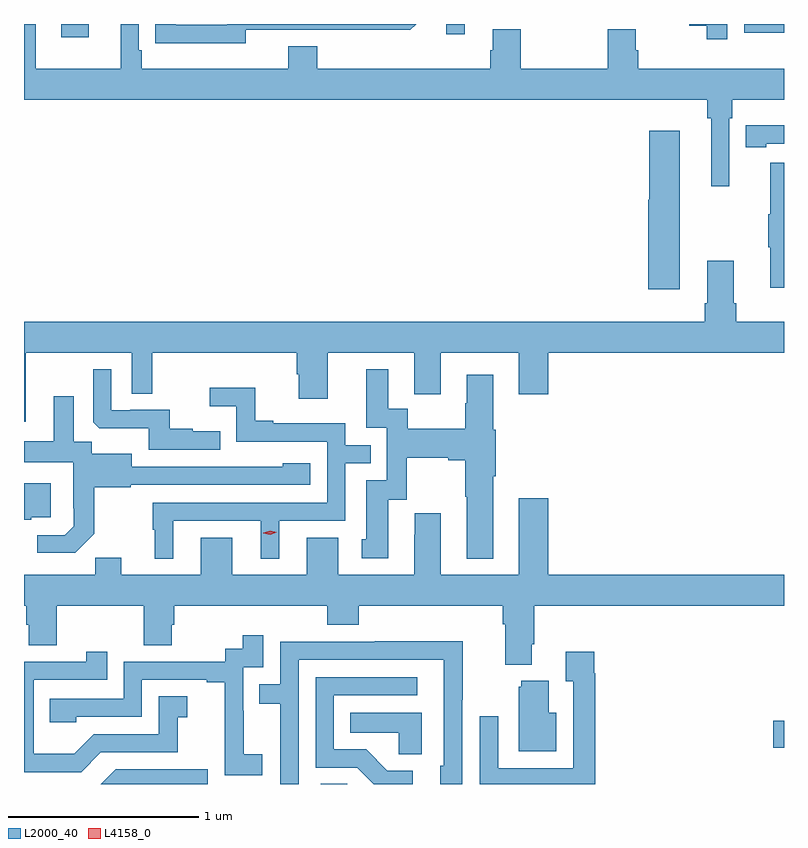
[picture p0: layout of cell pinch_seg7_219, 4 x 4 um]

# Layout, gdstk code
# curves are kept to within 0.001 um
import gdstk
lib = gdstk.Library(unit=1e-6, precision=1e-09)
def R(c, l, rs):  # rectangles x0, y0, x1, y1
    for r in rs: c.add(gdstk.rectangle(r[:2], r[2:], *l))
def P(c, l, *ps):  # polygons
    for p in ps: c.add(gdstk.Polygon(p, *l))
L2000_40 = (2000, 40)
L4158_0 = (4158, 0)

pinch_seg7_219 = lib.new_cell('pinch_seg7_219')
R(pinch_seg7_219, L2000_40, [(856.259,1032.979,856.398,1032.98), (858.642,1033.171,858.698,1033.313), (854.894,1036.908,855.04,1036.979), (856.92,1036.926,857.017,1036.979), (858.489,1036.932,858.698,1036.979)])
P(pinch_seg7_219, L2000_40, [(858.399,1036.979),(858.198,1036.979),(858.198,1036.969),(858.291,1036.969),(858.291,1036.899),(858.399,1036.899)],
  [(855.864,1036.95),(856.732,1036.949),(856.762,1036.979),(855.768,1036.979),(855.768,1036.974),(855.496,1036.974),(855.496,1036.979),(855.388,1036.979),(855.388,1036.878),(855.864,1036.877)],
  [(858.411,1036.484),(858.425,1036.484),(858.425,1036.58),(858.698,1036.58),(858.698,1036.744),(857.93,1036.744),(857.93,1036.842),(857.917,1036.842),(857.917,1036.952),(857.77,1036.952),(857.77,1036.744),(857.313,1036.744),(857.313,1036.952),(857.165,1036.952),(857.165,1036.842),(857.153,1036.842),(857.153,1036.744),(856.241,1036.744),(856.241,1036.861),(856.088,1036.861),(856.088,1036.744),(855.317,1036.744),(855.317,1036.84),(855.303,1036.84),(855.303,1036.979),(855.206,1036.979),(855.206,1036.744),(854.761,1036.744),(854.761,1036.979),(854.698,1036.979),(854.698,1036.58),(858.295,1036.58),(858.295,1036.484),(858.314,1036.484),(858.314,1036.125),(858.411,1036.125)],
  [(858.604,1036.35),(858.698,1036.35),(858.698,1036.447),(858.604,1036.447),(858.604,1036.446),(858.496,1036.446),(858.496,1036.33),(858.604,1036.33)],
  [(858.148,1036.417),(857.99,1036.417),(857.99,1036.053),(857.984,1036.053),(857.984,1035.582),(858.148,1035.582)],
  [(858.698,1036.249),(858.626,1036.249),(858.626,1035.977),(858.615,1035.977),(858.615,1035.803),(858.626,1035.803),(858.626,1035.591),(858.698,1035.591)],
  [(854.707,1035.248),(855.264,1035.248),(855.264,1035.034),(855.373,1035.034),(855.373,1035.248),(856.133,1035.248),(856.133,1035.135),(856.145,1035.135),(856.145,1035.006),(856.297,1035.006),(856.297,1035.248),(856.751,1035.248),(856.751,1035.03),(856.891,1035.03),(856.891,1035.248),(857.303,1035.248),(857.303,1035.03),(857.456,1035.03),(857.456,1035.248),(858.698,1035.248),(858.698,1035.412),(858.446,1035.412),(858.446,1035.508),(858.433,1035.508),(858.433,1035.733),(858.293,1035.733),(858.293,1035.508),(858.281,1035.508),(858.281,1035.412),(854.698,1035.412),(854.698,1034.886),(854.707,1034.886)],
  [(855.731,1034.836),(855.587,1034.836),(855.587,1034.848),(855.464,1034.848),(855.464,1034.949),(855.256,1034.949),(855.256,1034.946),(855.156,1034.946),(855.156,1035.163),(855.063,1035.163),(855.063,1034.883),(855.095,1034.852),(855.354,1034.852),(855.354,1034.739),(855.731,1034.739)],
  [(857.167,1034.6),(857.18,1034.6),(857.18,1034.844),(857.167,1034.844),(857.167,1035.132),(857.027,1035.132),(857.027,1034.982),(857.02,1034.982),(857.02,1034.848),(856.717,1034.848),(856.717,1034.954),(856.615,1034.954),(856.615,1035.163),(856.499,1035.163),(856.499,1034.853),(856.608,1034.853),(856.608,1034.577),(856.499,1034.577),(856.499,1034.268),(856.475,1034.268),(856.475,1034.166),(856.615,1034.166),(856.615,1034.474),(856.713,1034.474),(856.713,1034.696),(856.931,1034.696),(856.931,1034.684),(857.02,1034.684),(857.02,1034.491),(857.027,1034.491),(857.027,1034.165),(857.167,1034.165)],
  [(855.484,1034.364),(855.944,1034.364),(855.944,1034.165),(856.042,1034.165),(856.042,1034.364),(856.389,1034.364),(856.389,1034.667),(856.523,1034.667),(856.523,1034.763),(856.389,1034.763),(856.389,1034.877),(856.009,1034.877),(856.009,1034.89),(855.915,1034.89),(855.915,1035.065),(855.675,1035.065),(855.675,1034.966),(855.816,1034.966),(855.816,1034.781),(856.293,1034.781),(856.293,1034.46),(855.375,1034.46),(855.375,1034.316),(855.386,1034.316),(855.386,1034.165),(855.484,1034.165)],
  [(855.069,1034.295),(855.069,1034.541),(855.261,1034.541),(855.261,1034.553),(856.204,1034.553),(856.204,1034.668),(856.059,1034.668),(856.059,1034.65),(855.265,1034.649),(855.265,1034.716),(855.054,1034.716),(855.054,1034.78),(854.959,1034.78),(854.959,1035.019),(854.855,1035.019),(854.855,1034.782),(854.698,1034.782),(854.698,1034.672),(854.958,1034.672),(854.958,1034.431),(854.96,1034.431),(854.96,1034.336),(854.913,1034.289),(854.769,1034.289),(854.769,1034.195),(854.969,1034.195)],
  [(854.735,1034.382),(854.839,1034.382),(854.839,1034.563),(854.699,1034.563),(854.699,1034.478),(854.698,1034.478),(854.698,1034.37),(854.735,1034.37)],
  [(857.303,1034.08),(856.891,1034.08),(856.891,1034.404),(856.754,1034.404),(856.754,1034.291),(856.751,1034.291),(856.751,1034.08),(856.351,1034.08),(856.351,1034.275),(856.187,1034.275),(856.187,1034.08),(855.793,1034.08),(855.793,1034.275),(855.629,1034.275),(855.629,1034.08),(855.211,1034.08),(855.211,1034.171),(855.073,1034.171),(855.073,1034.08),(854.698,1034.08),(854.698,1033.916),(854.711,1033.916),(854.711,1033.818),(854.723,1033.818),(854.723,1033.708),(854.871,1033.708),(854.871,1033.916),(855.328,1033.916),(855.328,1033.708),(855.475,1033.708),(855.475,1033.818),(855.488,1033.818),(855.488,1033.916),(856.295,1033.916),(856.295,1033.817),(856.46,1033.817),(856.46,1033.916),(857.219,1033.916),(857.219,1033.82),(857.231,1033.82),(857.231,1033.607),(857.371,1033.607),(857.371,1033.714),(857.384,1033.714),(857.384,1033.916),(858.698,1033.916),(858.698,1034.08),(857.456,1034.08),(857.456,1034.482),(857.303,1034.482)],
  [(855.952,1033.135),(855.854,1033.135),(855.854,1033.364),(855.852,1033.364),(855.852,1033.593),(855.957,1033.593),(855.957,1033.762),(855.849,1033.762),(855.849,1033.692),(855.756,1033.692),(855.756,1033.623),(855.222,1033.623),(855.222,1033.428),(854.833,1033.428),(854.833,1033.305),(854.973,1033.305),(854.973,1033.332),(855.318,1033.332),(855.318,1033.527),(855.659,1033.527),(855.659,1033.515),(855.755,1033.515),(855.755,1033.231),(855.754,1033.231),(855.754,1033.025),(855.952,1033.025)],
  [(856.143,1033.632),(856.908,1033.632),(856.908,1033.074),(856.889,1033.074),(856.889,1032.979),(857.004,1032.979),(857.004,1033.423),(857.007,1033.423),(857.007,1033.73),(856.543,1033.73),(856.543,1033.728),(856.047,1033.728),(856.047,1033.503),(855.937,1033.503),(855.937,1033.402),(856.047,1033.402),(856.047,1032.979),(856.143,1032.979)],
  [(857.705,1033.562),(857.698,1033.562),(857.698,1033.675),(857.549,1033.675),(857.549,1033.519),(857.589,1033.519),(857.589,1033.062),(857.193,1033.062),(857.193,1033.336),(857.097,1033.336),(857.097,1032.979),(857.705,1032.979)],
  [(855.103,1033.146),(855.507,1033.146),(855.507,1033.331),(855.556,1033.331),(855.556,1033.441),(855.408,1033.441),(855.408,1033.242),(855.066,1033.242),(854.962,1033.138),(854.748,1033.138),(854.748,1033.527),(855.137,1033.527),(855.137,1033.675),(855.026,1033.675),(855.026,1033.623),(854.698,1033.623),(854.698,1033.041),(854.998,1033.041)],
  [(856.744,1033.05),(856.609,1033.05),(856.498,1033.161),(856.329,1033.161),(856.329,1033.446),(856.768,1033.446),(856.768,1033.542),(856.233,1033.542),(856.233,1033.065),(856.452,1033.065),(856.539,1032.979),(856.744,1032.979)],
  [(857.5,1033.354),(857.461,1033.354),(857.461,1033.522),(857.315,1033.522),(857.315,1033.491),(857.303,1033.491),(857.303,1033.151),(857.5,1033.151)],
  [(856.792,1033.354),(856.414,1033.354),(856.414,1033.25),(856.671,1033.25),(856.671,1033.135),(856.792,1033.135)],
  [(855.666,1033.056),(855.18,1033.056),(855.103,1032.979),(855.666,1032.979)])
P(pinch_seg7_219, L4158_0, [(855.993,1034.292),(855.957,1034.3),(855.957,1034.3),(855.957,1034.301),(855.993,1034.312),(856.029,1034.303),(856.029,1034.303),(856.029,1034.303)])

lib.write_gds('pinch_seg7_219.gds')
